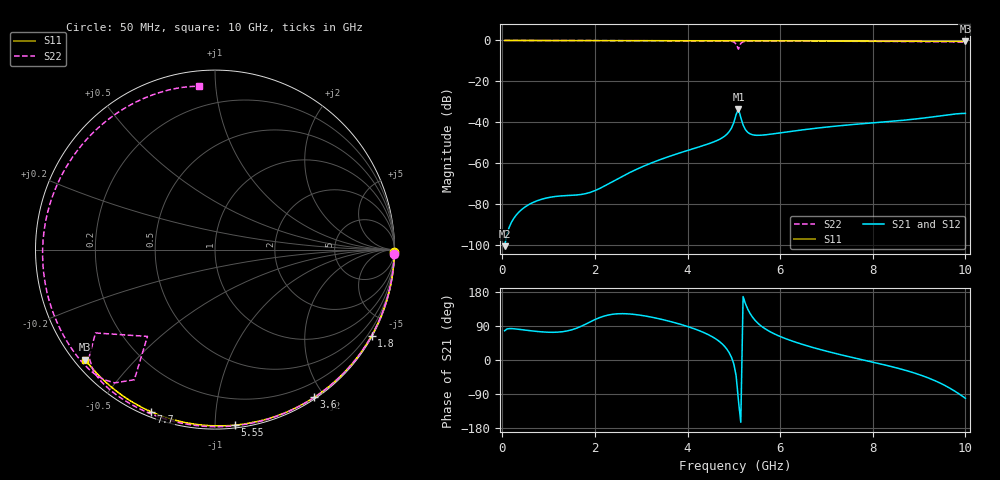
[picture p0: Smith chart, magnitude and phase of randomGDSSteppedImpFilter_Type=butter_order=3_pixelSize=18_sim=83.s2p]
! freq	dB(S11)	phase(S11)	dB(S12)	phase(S12)
!  dB(S21)	phase(S21)	dB(S22)	phase(S22)
!S-par simulation data
#  GHz  S  DB  R 50
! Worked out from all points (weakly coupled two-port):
!   200 points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, 50 MHz to 10 GHz, reference 50 ohm
!   highest |S21| = -33.53 dB at 5.1 GHz (marker M1); lowest = -100.5 dB at 50 MHz (marker M2)
!   lowest |S11| = -0.5 dB at 10 GHz (marker M3), VSWR 37.58, Z = 1.51 - j18.3 ohm
!   |S11| at or under -10 dB: nowhere
!   |S22| runs from -4.3 to 0.0 dB; largest |S21 - S12| = 0
!   S11 on the Smith chart (normalised r, x): 50 MHz: open; 1.8 GHz: 0.03, -3.90; 3.6 GHz: 0.02, -1.87; 5.55 GHz: 0.02, -1.12; 7.7 GHz: 0.02, -0.68; 10 GHz: 0.03, -0.37
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0.05  -0.01 -0.8  -100.49 77.2  -100.49 77.2  -0.00 -1.5
0.55  -0.01 -8.9  -80.48 78.1  -80.48 78.1  -0.02 -15.7
0.85  -0.02 -13.7  -77.56 74.3  -77.56 74.3  -0.03 -24.2
1.75  -0.04 -28.0  -75.06 91.6  -75.06 91.6  -0.06 -49.2
1.8  -0.04 -28.8  -74.83 94.6  -74.83 94.6  -0.06 -50.6
2.6  -0.05 -41.1  -66.26 122.3  -66.26 122.3  -0.09 -71.8
3.4  -0.07 -53.2  -58.29 108.4  -58.29 108.4  -0.12 -92.3
3.6  -0.08 -56.1  -56.68 102.5  -56.68 102.5  -0.13 -97.3
4.75  -0.11 -72.7  -47.54 42.2  -47.54 42.2  -0.22 -127.2
4.95  -0.12 -75.5  -42.75 6.8  -42.75 6.8  -0.41 -135.6
5.05  -0.12 -76.9  -36.10 -42.1  -36.10 -42.1  -1.81 -145.1
5.1  -0.13 -77.5  -33.53 -107.7  -33.53 -107.7  -4.25 -127.9
5.15  -0.13 -78.2  -37.62 -164.2  -37.62 -164.2  -1.38 -121.8
5.2  -0.13 -78.9  -41.31 167.5  -41.31 167.5  -0.63 -127.0
5.25  -0.13 -79.6  -43.55 148.7  -43.55 148.7  -0.42 -130.4
5.35  -0.13 -80.9  -45.63 122.9  -45.63 122.9  -0.30 -134.9
5.55  -0.14 -83.7  -46.33 93.7  -46.33 93.7  -0.26 -141.3
6.7  -0.19 -98.9  -43.07 33.2  -43.07 33.2  -0.32 -170.5
7.7  -0.26 -111.6  -40.81 2.7  -40.81 2.7  -0.41 163.4
8.35  -0.31 -119.6  -39.60 -15.7  -39.60 -15.7  -0.49 145.1
9.25  -0.39 -130.6  -37.46 -49.8  -37.46 -49.8  -0.61 117.9
10  -0.46 -139.8  -35.61 -101.1  -35.61 -101.1  -0.78 95.6
